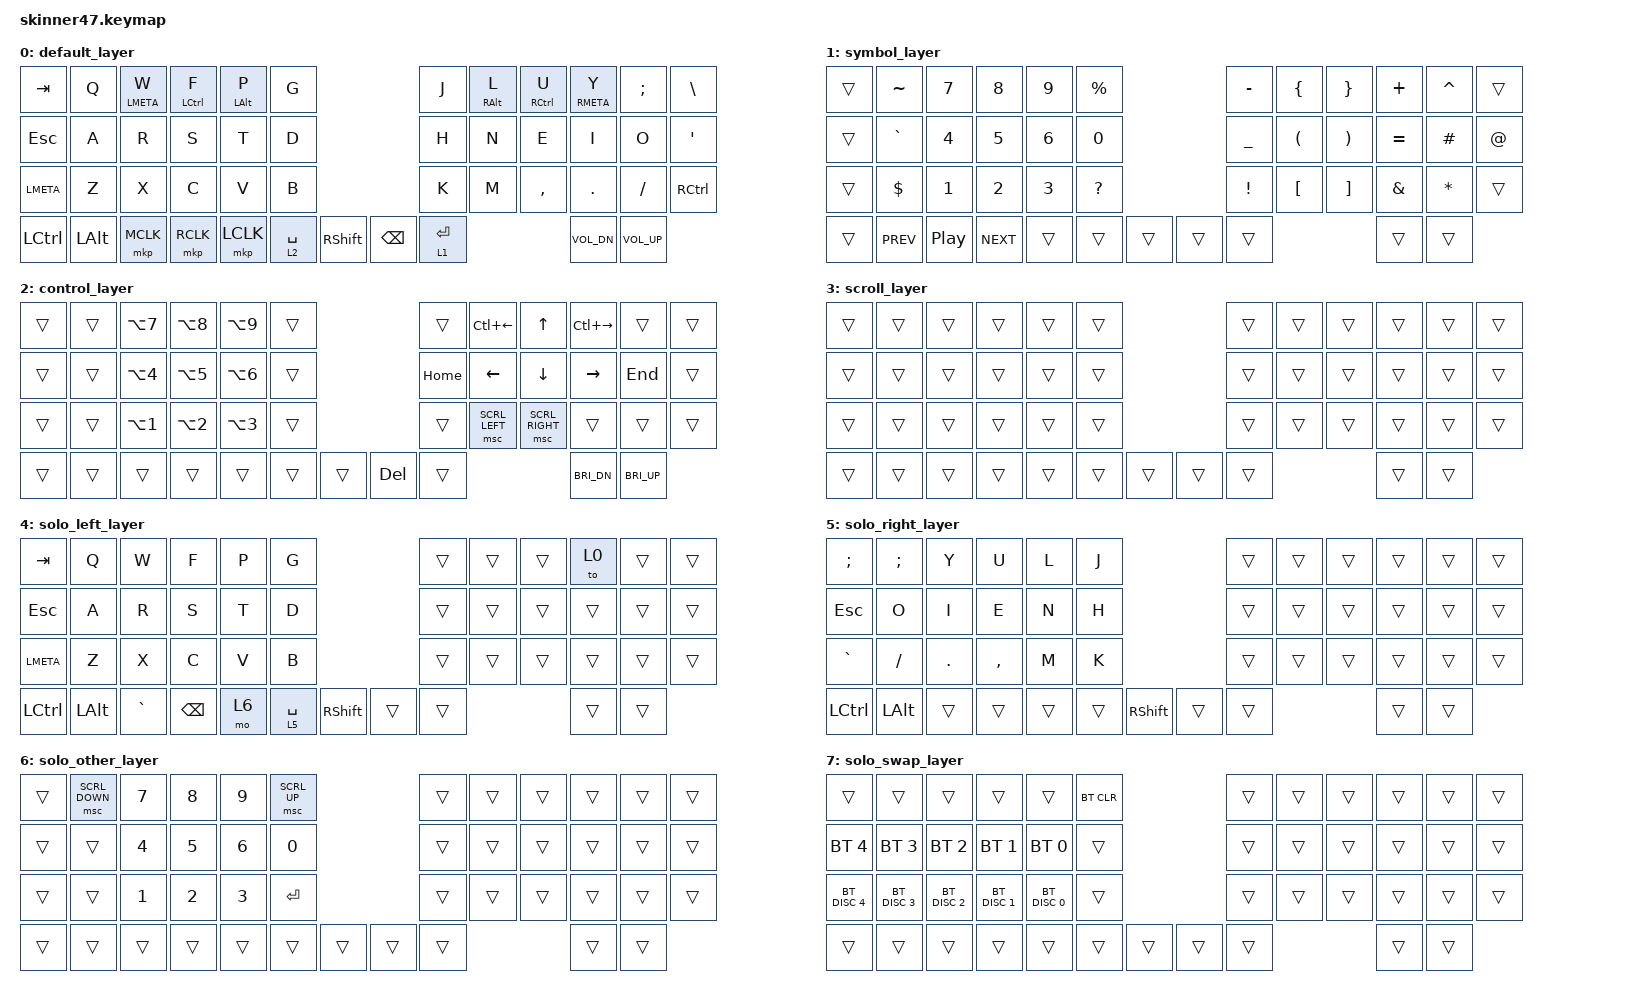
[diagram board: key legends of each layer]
#include <behaviors.dtsi>
#include <dt-bindings/zmk/bt.h>
#include <dt-bindings/zmk/keys.h>
#include <dt-bindings/zmk/pointing.h>

&mt {
  require-prior-idle-ms = <150>;
  flavor = "balanced";
};

/ {
    combos {
        compatible = "zmk,combos";
        combo_left_scroll {
            timeout-ms = <50>;
            key-positions = <27 28>;
            bindings = <&mo 3>;
        };
        combo_solo {
            timeout-ms = <50>;
            key-positions = <1 25>;
            bindings = <&to 4>;
        };
        combo_right_scroll {
            timeout-ms = <50>;
            key-positions = <33 34>;
            bindings = <&mo 3>;
        };
        combo_right_click {
            timeout-ms = <50>;
            key-positions = <32 33>;
            bindings = <&mkp LCLK>;
        };
        combo_swap {
            timeout-ms = <50>;
            key-positions = <6 18>;
            bindings = <&mo 7>;
        };
    };

    keymap {
        compatible = "zmk,keymap";

        default_layer {
            bindings = <
&kp TAB    &kp Q         &mt LMETA W   &mt LCTRL F  &mt LALT P    &kp G                                    &kp J            &mt RALT L   &mt RCTRL U  &mt RMETA Y  &kp SEMI       &kp BSLH
&kp ESC    &kp A         &kp R         &kp S        &kp T         &kp D                                    &kp H            &kp N        &kp E        &kp I        &kp O          &kp APOS
&kp LMETA  &kp Z         &kp X         &kp C        &kp V         &kp B                                    &kp K            &kp M        &kp COMMA    &kp DOT      &kp FSLH       &kp RCTRL
&kp LCTRL  &kp LALT      &mkp MCLK     &mkp RCLK    &mkp LCLK     &lt 2 SPACE   &kp RSHIFT  &kp BACKSPACE  &lt 1 ENTER                                 &kp C_VOL_DN   &kp C_VOL_UP
            >;
        };

        symbol_layer {
            bindings = <
&trans  &kp TILDE  &kp N7    &kp N8        &kp N9     &kp PRCNT                 &kp MINUS  &kp LBRC  &kp RBRC  &kp PLUS  &kp CARET  &trans
&trans  &kp GRAVE  &kp N4    &kp N5        &kp N6     &kp N0                    &kp UNDER  &kp LPAR  &kp RPAR  &kp EQUAL &kp HASH   &kp AT
&trans  &kp DLLR   &kp N1    &kp N2        &kp N3     &kp QMARK                 &kp EXCL   &kp LBKT  &kp RBKT  &kp AMPS  &kp STAR  &trans
&trans  &kp C_PREV &kp C_PP  &kp C_NEXT    &trans     &trans   &trans   &trans  &trans                                   &trans    &trans
            >;
        };

        control_layer {
            bindings = <
&trans  &trans  &kp LA(N7)  &kp LA(N8)     &kp LA(N9)     &trans                       &trans    &kp LC(LEFT)   &kp UP          &kp LC(RIGHT) &trans        &trans
&trans  &trans  &kp LA(N4)  &kp LA(N5)     &kp LA(N6)     &trans                       &kp HOME  &kp LEFT       &kp DOWN        &kp RIGHT     &kp END       &trans
&trans  &trans  &kp LA(N1)  &kp LA(N2)     &kp LA(N3)     &trans                       &trans    &msc SCRL_LEFT &msc SCRL_RIGHT &trans        &trans        &trans
&trans  &trans  &trans      &trans         &trans         &trans  &trans      &kp DEL  &trans                                                 &kp C_BRI_DN  &kp C_BRI_UP
            >;
        };

        scroll_layer {
            bindings = <
&trans  &trans  &trans  &trans  &trans  &trans                  &trans  &trans  &trans  &trans  &trans  &trans
&trans  &trans  &trans  &trans  &trans  &trans                  &trans  &trans  &trans  &trans  &trans  &trans
&trans  &trans  &trans  &trans  &trans  &trans                  &trans  &trans  &trans  &trans  &trans  &trans
&trans  &trans  &trans  &trans  &trans  &trans  &trans  &trans  &trans                          &trans  &trans
            >;
        };

        solo_left_layer {
            bindings = <
&kp TAB    &kp Q         &kp W         &kp F              &kp P         &kp G                             &trans  &trans  &trans  &to 0   &trans  &trans
&kp ESC    &kp A         &kp R         &kp S              &kp T         &kp D                             &trans  &trans  &trans  &trans  &trans  &trans
&kp LMETA  &kp Z         &kp X         &kp C              &kp V         &kp B                             &trans  &trans  &trans  &trans  &trans  &trans
&kp LCTRL  &kp LALT      &kp GRAVE     &kp BACKSPACE      &mo 6         &lt 5 SPACE   &kp RSHIFT  &trans  &trans                          &trans  &trans
            >;
        };

        solo_right_layer {
            bindings = <
&kp SEMI   &kp SEMI      &kp Y         &kp U       &kp L         &kp J                             &trans  &trans  &trans  &trans  &trans  &trans
&kp ESC    &kp O         &kp I         &kp E       &kp N         &kp H                             &trans  &trans  &trans  &trans  &trans  &trans
&kp GRAVE  &kp FSLH      &kp DOT       &kp COMMA   &kp M         &kp K                             &trans  &trans  &trans  &trans  &trans  &trans
&kp LCTRL  &kp LALT      &trans        &trans      &trans        &trans        &kp RSHIFT  &trans  &trans                          &trans  &trans
            >;
        };

        solo_other_layer {
            bindings = <
&trans  &msc SCRL_DOWN &kp N7  &kp N8  &kp N9  &msc SCRL_UP            &trans  &trans  &trans  &trans  &trans  &trans
&trans  &trans         &kp N4  &kp N5  &kp N6  &kp N0                  &trans  &trans  &trans  &trans  &trans  &trans
&trans  &trans         &kp N1  &kp N2  &kp N3  &kp ENTER               &trans  &trans  &trans  &trans  &trans  &trans
&trans  &trans         &trans  &trans  &trans  &trans  &trans  &trans  &trans                          &trans  &trans
            >;
        };

        solo_swap_layer {
            bindings = <
&trans        &trans        &trans        &trans        &trans         &bt BT_CLR              &trans  &trans  &trans  &trans  &trans  &trans
&bt BT_SEL 4  &bt BT_SEL 3  &bt BT_SEL 2  &bt BT_SEL 1  &bt BT_SEL 0   &trans                  &trans  &trans  &trans  &trans  &trans  &trans
&bt BT_DISC 4 &bt BT_DISC 3 &bt BT_DISC 2 &bt BT_DISC 1 &bt BT_DISC 0  &trans                  &trans  &trans  &trans  &trans  &trans  &trans
&trans  &trans  &trans  &trans  &trans  &trans  &trans  &trans  &trans                          &trans  &trans
            >;
        };
    };
};
